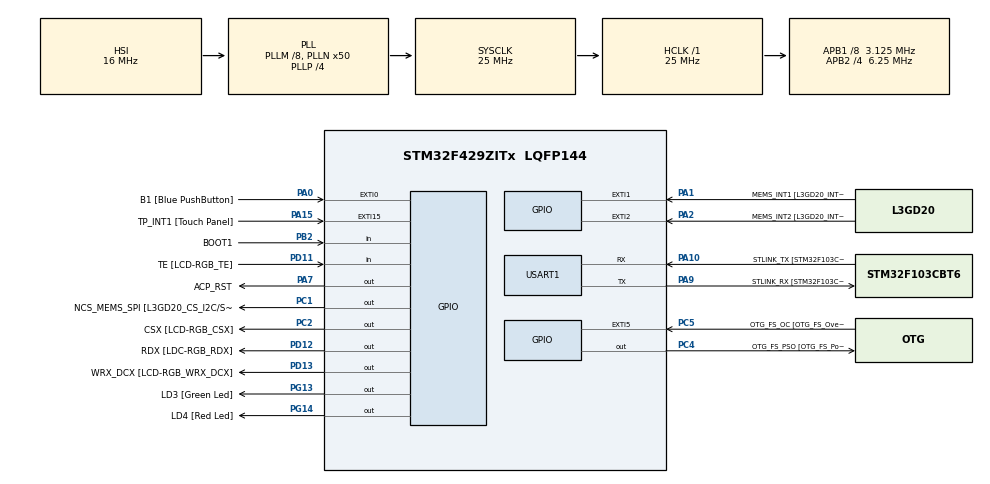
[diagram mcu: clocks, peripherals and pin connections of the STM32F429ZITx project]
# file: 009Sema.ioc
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Mcu.Family=STM32F4
Mcu.Name=STM32F429ZITx
Mcu.Package=LQFP144
NVIC.PriorityGroup=NVIC_PRIORITYGROUP_4
NVIC.TIM6_DAC_IRQn=true\:0\:0\:false\:false\:true\:false\:true
NVIC.TimeBase=TIM6_DAC_IRQn
NVIC.TimeBaseIP=TIM6
NVIC.USART1_IRQn=true\:6\:0\:true\:false\:true\:true\:true
PA0/WKUP.GPIO_Label=B1 [Blue PushButton]
PA0/WKUP.GPIO_ModeDefaultEXTI=GPIO_MODE_EVT_RISING
PA0/WKUP.GPIO_PuPd=GPIO_NOPULL
PA0/WKUP.Signal=GPXTI0
PA1.GPIO_Label=MEMS_INT1 [L3GD20_INT1]
PA1.GPIO_ModeDefaultEXTI=GPIO_MODE_EVT_RISING
PA1.GPIO_PuPd=GPIO_NOPULL
PA1.Signal=GPXTI1
PA10.GPIO_Label=STLINK_TX [STM32F103CBT6_PA2]
PA10.Mode=Asynchronous
PA10.Signal=USART1_RX
PA11.GPIO_Label=R4
PA11.GPIO_Mode=GPIO_MODE_AF_PP
PA11.GPIO_PuPd=GPIO_NOPULL
PA11.GPIO_Speed=GPIO_SPEED_FREQ_LOW
PA11.Signal=LTDC_R4
PA12.GPIO_Label=R5
PA12.GPIO_Mode=GPIO_MODE_AF_PP
PA12.GPIO_PuPd=GPIO_NOPULL
PA12.GPIO_Speed=GPIO_SPEED_FREQ_LOW
PA12.Signal=LTDC_R5
PA13.GPIO_Label=SWDIO
PA13.Signal=SYS_JTMS-SWDIO
PA14.GPIO_Label=SWCLK
PA14.Signal=SYS_JTCK-SWCLK
PA15.GPIO_Label=TP_INT1 [Touch Panel]
PA15.GPIO_ModeDefaultEXTI=GPIO_MODE_EVT_RISING
PA15.GPIO_PuPd=GPIO_NOPULL
PA15.Signal=GPXTI15
PA2.GPIO_Label=MEMS_INT2 [L3GD20_INT2]
PA2.GPIO_ModeDefaultEXTI=GPIO_MODE_EVT_RISING
PA2.GPIO_PuPd=GPIO_NOPULL
PA2.Signal=GPXTI2
PA3.GPIO_Label=B5
PA3.GPIO_Mode=GPIO_MODE_AF_PP
PA3.GPIO_PuPd=GPIO_NOPULL
PA3.GPIO_Speed=GPIO_SPEED_FREQ_LOW
PA3.Signal=LTDC_B5
PA4.GPIO_Label=VSYNC
PA4.GPIO_Mode=GPIO_MODE_AF_PP
PA4.GPIO_PuPd=GPIO_NOPULL
PA4.GPIO_Speed=GPIO_SPEED_FREQ_LOW
PA4.Signal=LTDC_VSYNC
PA6.GPIO_Label=G2
PA6.GPIO_Mode=GPIO_MODE_AF_PP
PA6.GPIO_PuPd=GPIO_NOPULL
PA6.GPIO_Speed=GPIO_SPEED_FREQ_LOW
PA6.Signal=LTDC_G2
PA7.GPIO_Label=ACP_RST
PA7.GPIO_Mode=GPIO_MODE_OUTPUT_PP
PA7.GPIO_PuPd=GPIO_NOPULL
PA7.GPIO_Speed=GPIO_SPEED_FREQ_LOW
PA7.Signal=GPIO_Output
PA8.GPIO_Label=I2C3_SCL [ACP/RF_SCL]
PA8.GPIO_Mode=GPIO_MODE_AF_OD
PA8.GPIO_PuPd=GPIO_NOPULL
PA8.GPIO_Speed=GPIO_SPEED_FREQ_LOW
PA8.Signal=I2C3_SCL
PA9.GPIO_Label=STLINK_RX [STM32F103CBT6_PA3]
PA9.Mode=Asynchronous
PA9.Signal=USART1_TX
PB0.GPIO_Label=R3
PB0.GPIO_Mode=GPIO_MODE_AF_PP
PB0.GPIO_PuPd=GPIO_NOPULL
PB0.GPIO_Speed=GPIO_SPEED_FREQ_LOW
PB0.Signal=LTDC_R3
PB1.GPIO_Label=R6
PB1.GPIO_Mode=GPIO_MODE_AF_PP
PB1.GPIO_PuPd=GPIO_NOPULL
PB1.GPIO_Speed=GPIO_SPEED_FREQ_LOW
PB1.Signal=LTDC_R6
PB10.GPIO_Label=G4
PB10.GPIO_Mode=GPIO_MODE_AF_PP
PB10.GPIO_PuPd=GPIO_NOPULL
PB10.GPIO_Speed=GPIO_SPEED_FREQ_LOW
PB10.Signal=LTDC_G4
PB11.GPIO_Label=G5
PB11.GPIO_Mode=GPIO_MODE_AF_PP
PB11.GPIO_PuPd=GPIO_NOPULL
PB11.GPIO_Speed=GPIO_SPEED_FREQ_LOW
PB11.Signal=LTDC_G5
PB12.GPIO_Label=OTG_HS_ID
PB12.GPIO_Mode=GPIO_MODE_AF_PP
PB12.GPIO_PuPd=GPIO_NOPULL
PB12.GPIO_Speed=GPIO_SPEED_FREQ_LOW
PB12.Signal=USB_OTG_HS_ID
PB13.GPIO_Label=VBUS_HS
PB13.GPIO_Mode=GPIO_MODE_INPUT
PB13.GPIO_PuPd=GPIO_NOPULL
PB13.Signal=USB_OTG_HS_VBUS
PB14.GPIO_Label=OTG_HS_DM
PB14.GPIO_Mode=GPIO_MODE_AF_PP
PB14.GPIO_PuPd=GPIO_NOPULL
PB14.GPIO_Speed=GPIO_SPEED_FREQ_LOW
PB14.Signal=USB_OTG_HS_DM
PB15.GPIO_Label=OTG_HS_DP
PB15.GPIO_Mode=GPIO_MODE_AF_PP
PB15.GPIO_PuPd=GPIO_NOPULL
PB15.GPIO_Speed=GPIO_SPEED_FREQ_LOW
PB15.Signal=USB_OTG_HS_DP
PB2/BOOT1.GPIO_Label=BOOT1
PB2/BOOT1.GPIO_Mode=GPIO_MODE_INPUT
PB2/BOOT1.GPIO_PuPd=GPIO_NOPULL
PB2/BOOT1.Signal=GPIO_Input
PB5.GPIO_Label=SDCKE1
PB5.GPIO_Mode=GPIO_MODE_AF_PP
PB5.GPIO_PuPd=GPIO_NOPULL
PB5.GPIO_Speed=GPIO_SPEED_FREQ_VERY_HIGH
PB5.Signal=FMC_SDCKE1
PB6.GPIO_Label=SDNE1 [SDRAM_CS]
PB6.GPIO_Mode=GPIO_MODE_AF_PP
PB6.GPIO_PuPd=GPIO_NOPULL
PB6.GPIO_Speed=GPIO_SPEED_FREQ_VERY_HIGH
PB6.Signal=FMC_SDNE1
PB8.GPIO_Label=B6
PB8.GPIO_Mode=GPIO_MODE_AF_PP
PB8.GPIO_PuPd=GPIO_NOPULL
PB8.GPIO_Speed=GPIO_SPEED_FREQ_LOW
PB8.Signal=LTDC_B6
PB9.GPIO_Label=B7
PB9.GPIO_Mode=GPIO_MODE_AF_PP
PB9.GPIO_PuPd=GPIO_NOPULL
PB9.GPIO_Speed=GPIO_SPEED_FREQ_LOW
PB9.Signal=LTDC_B7
PC0.GPIO_Label=SDNWE
PC0.GPIO_Mode=GPIO_MODE_AF_PP
PC0.GPIO_PuPd=GPIO_NOPULL
PC0.GPIO_Speed=GPIO_SPEED_FREQ_VERY_HIGH
PC0.Signal=FMC_SDNWE
PC1.GPIO_Label=NCS_MEMS_SPI [L3GD20_CS_I2C/SPI]
PC1.GPIO_Mode=GPIO_MODE_OUTPUT_PP
PC1.GPIO_PuPd=GPIO_NOPULL
PC1.GPIO_Speed=GPIO_SPEED_FREQ_LOW
PC1.Signal=GPIO_Output
PC10.GPIO_Label=R2
PC10.GPIO_Mode=GPIO_MODE_AF_PP
PC10.GPIO_PuPd=GPIO_NOPULL
PC10.GPIO_Speed=GPIO_SPEED_FREQ_LOW
PC10.Signal=LTDC_R2
PC14/OSC32_IN.GPIO_Label=PC14-OSC32_IN
PC14/OSC32_IN.Signal=RCC_OSC32_IN
PC15/OSC32_OUT.GPIO_Label=PC15-OSC32_OUT
PC15/OSC32_OUT.Signal=RCC_OSC32_OUT
PC2.GPIO_Label=CSX [LCD-RGB_CSX]
PC2.GPIO_Mode=GPIO_MODE_OUTPUT_PP
PC2.GPIO_PuPd=GPIO_NOPULL
PC2.GPIO_Speed=GPIO_SPEED_FREQ_LOW
PC2.Signal=GPIO_Output
PC4.GPIO_Label=OTG_FS_PSO [OTG_FS_PowerSwitchOn]
PC4.GPIO_Mode=GPIO_MODE_OUTPUT_PP
PC4.GPIO_PuPd=GPIO_NOPULL
PC4.GPIO_Speed=GPIO_SPEED_FREQ_LOW
PC4.Signal=GPIO_Output
PC5.GPIO_Label=OTG_FS_OC [OTG_FS_OverCurrent]
PC5.GPIO_ModeDefaultEXTI=GPIO_MODE_EVT_RISING
PC5.Signal=GPXTI5
PC6.GPIO_Label=HSYNC
PC6.GPIO_Mode=GPIO_MODE_AF_PP
PC6.GPIO_PuPd=GPIO_NOPULL
PC6.GPIO_Speed=GPIO_SPEED_FREQ_LOW
PC6.Signal=LTDC_HSYNC
PC7.GPIO_Label=G6
PC7.GPIO_Mode=GPIO_MODE_AF_PP
PC7.GPIO_PuPd=GPIO_NOPULL
PC7.GPIO_Speed=GPIO_SPEED_FREQ_LOW
PC7.Signal=LTDC_G6
PC9.GPIO_Label=I2C3_SDA [ACP/RF_SDA]
PC9.GPIO_Mode=GPIO_MODE_AF_OD
PC9.GPIO_PuPd=GPIO_NOPULL
PC9.GPIO_Speed=GPIO_SPEED_FREQ_LOW
PC9.Signal=I2C3_SDA
PD0.GPIO_Label=D2
PD0.GPIO_Mode=GPIO_MODE_AF_PP
PD0.GPIO_PuPd=GPIO_NOPULL
PD0.GPIO_Speed=GPIO_SPEED_FREQ_VERY_HIGH
PD0.Signal=FMC_D2_DA2
PD1.GPIO_Label=D3
PD1.GPIO_Mode=GPIO_MODE_AF_PP
PD1.GPIO_PuPd=GPIO_NOPULL
PD1.GPIO_Speed=GPIO_SPEED_FREQ_VERY_HIGH
PD1.Signal=FMC_D3_DA3
PD10.GPIO_Label=D15
PD10.GPIO_Mode=GPIO_MODE_AF_PP
PD10.GPIO_PuPd=GPIO_NOPULL
PD10.GPIO_Speed=GPIO_SPEED_FREQ_VERY_HIGH
PD10.Signal=FMC_D15_DA15
PD11.GPIO_Label=TE [LCD-RGB_TE]
PD11.GPIO_Mode=GPIO_MODE_INPUT
PD11.GPIO_PuPd=GPIO_NOPULL
PD11.Signal=GPIO_Input
PD12.GPIO_Label=RDX [LDC-RGB_RDX]
PD12.GPIO_Mode=GPIO_MODE_OUTPUT_PP
PD12.GPIO_PuPd=GPIO_NOPULL
PD12.GPIO_Speed=GPIO_SPEED_FREQ_LOW
PD12.Signal=GPIO_Output
PD13.GPIO_Label=WRX_DCX [LCD-RGB_WRX_DCX]
PD13.GPIO_Mode=GPIO_MODE_OUTPUT_PP
PD13.GPIO_PuPd=GPIO_NOPULL
PD13.GPIO_Speed=GPIO_SPEED_FREQ_LOW
PD13.Signal=GPIO_Output
PD14.GPIO_Label=D0
PD14.GPIO_Mode=GPIO_MODE_AF_PP
PD14.GPIO_PuPd=GPIO_NOPULL
PD14.GPIO_Speed=GPIO_SPEED_FREQ_VERY_HIGH
PD14.Signal=FMC_D0_DA0
PD15.GPIO_Label=D1
PD15.GPIO_Mode=GPIO_MODE_AF_PP
PD15.GPIO_PuPd=GPIO_NOPULL
PD15.GPIO_Speed=GPIO_SPEED_FREQ_VERY_HIGH
PD15.Signal=FMC_D1_DA1
PD3.GPIO_Label=G7
PD3.GPIO_Mode=GPIO_MODE_AF_PP
PD3.GPIO_PuPd=GPIO_NOPULL
PD3.GPIO_Speed=GPIO_SPEED_FREQ_LOW
PD3.Signal=LTDC_G7
PD6.GPIO_Label=B2
PD6.GPIO_Mode=GPIO_MODE_AF_PP
PD6.GPIO_PuPd=GPIO_NOPULL
PD6.GPIO_Speed=GPIO_SPEED_FREQ_LOW
PD6.Signal=LTDC_B2
PD8.GPIO_Label=D13
PD8.GPIO_Mode=GPIO_MODE_AF_PP
PD8.GPIO_PuPd=GPIO_NOPULL
PD8.GPIO_Speed=GPIO_SPEED_FREQ_VERY_HIGH
PD8.Signal=FMC_D13_DA13
PD9.GPIO_Label=D14
PD9.GPIO_Mode=GPIO_MODE_AF_PP
PD9.GPIO_PuPd=GPIO_NOPULL
PD9.GPIO_Speed=GPIO_SPEED_FREQ_VERY_HIGH
PD9.Signal=FMC_D14_DA14
PE0.GPIO_Label=NBL0 [SDRAM_LDQM]
PE0.GPIO_Mode=GPIO_MODE_AF_PP
PE0.GPIO_PuPd=GPIO_NOPULL
PE0.GPIO_Speed=GPIO_SPEED_FREQ_VERY_HIGH
PE0.Signal=FMC_NBL0
PE1.GPIO_Label=NBL1 [SDRAM_UDQM]
PE1.GPIO_Mode=GPIO_MODE_AF_PP
PE1.GPIO_PuPd=GPIO_NOPULL
PE1.GPIO_Speed=GPIO_SPEED_FREQ_VERY_HIGH
PE1.Signal=FMC_NBL1
PE10.GPIO_Label=D7
PE10.GPIO_Mode=GPIO_MODE_AF_PP
PE10.GPIO_PuPd=GPIO_NOPULL
PE10.GPIO_Speed=GPIO_SPEED_FREQ_VERY_HIGH
PE10.Signal=FMC_D7_DA7
PE11.GPIO_Label=D8
PE11.GPIO_Mode=GPIO_MODE_AF_PP
PE11.GPIO_PuPd=GPIO_NOPULL
PE11.GPIO_Speed=GPIO_SPEED_FREQ_VERY_HIGH
PE11.Signal=FMC_D8_DA8
PE12.GPIO_Label=D9
PE12.GPIO_Mode=GPIO_MODE_AF_PP
PE12.GPIO_PuPd=GPIO_NOPULL
PE12.GPIO_Speed=GPIO_SPEED_FREQ_VERY_HIGH
PE12.Signal=FMC_D9_DA9
PE13.GPIO_Label=D10
PE13.GPIO_Mode=GPIO_MODE_AF_PP
PE13.GPIO_PuPd=GPIO_NOPULL
PE13.GPIO_Speed=GPIO_SPEED_FREQ_VERY_HIGH
PE13.Signal=FMC_D10_DA10
PE14.GPIO_Label=D11
PE14.GPIO_Mode=GPIO_MODE_AF_PP
PE14.GPIO_PuPd=GPIO_NOPULL
PE14.GPIO_Speed=GPIO_SPEED_FREQ_VERY_HIGH
PE14.Signal=FMC_D11_DA11
PE15.GPIO_Label=D12
PE15.GPIO_Mode=GPIO_MODE_AF_PP
PE15.GPIO_PuPd=GPIO_NOPULL
PE15.GPIO_Speed=GPIO_SPEED_FREQ_VERY_HIGH
PE15.Signal=FMC_D12_DA12
PE7.GPIO_Label=D4
PE7.GPIO_Mode=GPIO_MODE_AF_PP
PE7.GPIO_PuPd=GPIO_NOPULL
PE7.GPIO_Speed=GPIO_SPEED_FREQ_VERY_HIGH
PE7.Signal=FMC_D4_DA4
PE8.GPIO_Label=D5
PE8.GPIO_Mode=GPIO_MODE_AF_PP
PE8.GPIO_PuPd=GPIO_NOPULL
PE8.GPIO_Speed=GPIO_SPEED_FREQ_VERY_HIGH
PE8.Signal=FMC_D5_DA5
PE9.GPIO_Label=D6
PE9.GPIO_Mode=GPIO_MODE_AF_PP
PE9.GPIO_PuPd=GPIO_NOPULL
PE9.GPIO_Speed=GPIO_SPEED_FREQ_VERY_HIGH
PE9.Signal=FMC_D6_DA6
PF0.GPIO_Label=A0
PF0.GPIO_Mode=GPIO_MODE_AF_PP
PF0.GPIO_PuPd=GPIO_NOPULL
PF0.GPIO_Speed=GPIO_SPEED_FREQ_VERY_HIGH
PF0.Signal=FMC_A0
PF1.GPIO_Label=A1
PF1.GPIO_Mode=GPIO_MODE_AF_PP
PF1.GPIO_PuPd=GPIO_NOPULL
PF1.GPIO_Speed=GPIO_SPEED_FREQ_VERY_HIGH
PF1.Signal=FMC_A1
PF10.GPIO_Label=ENABLE [LCD-RGB_ENABLE]
PF10.GPIO_Mode=GPIO_MODE_AF_PP
PF10.GPIO_PuPd=GPIO_NOPULL
PF10.GPIO_Speed=GPIO_SPEED_FREQ_LOW
PF10.Signal=LTDC_DE
PF11.GPIO_Label=SDNRAS
PF11.GPIO_Mode=GPIO_MODE_AF_PP
PF11.GPIO_PuPd=GPIO_NOPULL
PF11.GPIO_Speed=GPIO_SPEED_FREQ_VERY_HIGH
PF11.Signal=FMC_SDNRAS
PF12.GPIO_Label=A6
PF12.GPIO_Mode=GPIO_MODE_AF_PP
PF12.GPIO_PuPd=GPIO_NOPULL
PF12.GPIO_Speed=GPIO_SPEED_FREQ_VERY_HIGH
PF12.Signal=FMC_A6
PF13.GPIO_Label=A7
PF13.GPIO_Mode=GPIO_MODE_AF_PP
PF13.GPIO_PuPd=GPIO_NOPULL
PF13.GPIO_Speed=GPIO_SPEED_FREQ_VERY_HIGH
PF13.Signal=FMC_A7
PF14.GPIO_Label=A8
PF14.GPIO_Mode=GPIO_MODE_AF_PP
PF14.GPIO_PuPd=GPIO_NOPULL
PF14.GPIO_Speed=GPIO_SPEED_FREQ_VERY_HIGH
PF14.Signal=FMC_A8
PF15.GPIO_Label=A9
PF15.GPIO_Mode=GPIO_MODE_AF_PP
PF15.GPIO_PuPd=GPIO_NOPULL
PF15.GPIO_Speed=GPIO_SPEED_FREQ_VERY_HIGH
PF15.Signal=FMC_A9
PF2.GPIO_Label=A2
PF2.GPIO_Mode=GPIO_MODE_AF_PP
PF2.GPIO_PuPd=GPIO_NOPULL
PF2.GPIO_Speed=GPIO_SPEED_FREQ_VERY_HIGH
PF2.Signal=FMC_A2
PF3.GPIO_Label=A3
PF3.GPIO_Mode=GPIO_MODE_AF_PP
PF3.GPIO_PuPd=GPIO_NOPULL
PF3.GPIO_Speed=GPIO_SPEED_FREQ_VERY_HIGH
PF3.Signal=FMC_A3
PF4.GPIO_Label=A4
PF4.GPIO_Mode=GPIO_MODE_AF_PP
PF4.GPIO_PuPd=GPIO_NOPULL
PF4.GPIO_Speed=GPIO_SPEED_FREQ_VERY_HIGH
PF4.Signal=FMC_A4
PF5.GPIO_Label=A5
PF5.GPIO_Mode=GPIO_MODE_AF_PP
PF5.GPIO_PuPd=GPIO_NOPULL
PF5.GPIO_Speed=GPIO_SPEED_FREQ_VERY_HIGH
PF5.Signal=FMC_A5
PF7.GPIO_Label=SPI5_SCK [L3GD20_SCL/SPC]
PF7.GPIO_Mode=GPIO_MODE_AF_PP
PF7.GPIO_PuPd=GPIO_NOPULL
PF7.GPIO_Speed=GPIO_SPEED_FREQ_LOW
PF7.Signal=SPI5_SCK
PF8.GPIO_Label=SPI5_MISO [L3GD20_SDO]
PF8.GPIO_Mode=GPIO_MODE_AF_PP
PF8.GPIO_PuPd=GPIO_NOPULL
PF8.GPIO_Speed=GPIO_SPEED_FREQ_LOW
PF8.Signal=SPI5_MISO
PF9.GPIO_Label=SPI5_MOSI [L3GD20_SDA/SDI/SDO]
PF9.GPIO_Mode=GPIO_MODE_AF_PP
PF9.GPIO_PuPd=GPIO_NOPULL
PF9.GPIO_Speed=GPIO_SPEED_FREQ_LOW
PF9.Signal=SPI5_MOSI
PG0.GPIO_Label=A10
PG0.GPIO_Mode=GPIO_MODE_AF_PP
PG0.GPIO_PuPd=GPIO_NOPULL
PG0.GPIO_Speed=GPIO_SPEED_FREQ_VERY_HIGH
PG0.Signal=FMC_A10
PG1.GPIO_Label=A11
PG1.GPIO_Mode=GPIO_MODE_AF_PP
PG1.GPIO_PuPd=GPIO_NOPULL
PG1.GPIO_Speed=GPIO_SPEED_FREQ_VERY_HIGH
PG1.Signal=FMC_A11
PG10.GPIO_Label=G3
PG10.GPIO_Mode=GPIO_MODE_AF_PP
PG10.GPIO_PuPd=GPIO_NOPULL
PG10.GPIO_Speed=GPIO_SPEED_FREQ_LOW
PG10.Signal=LTDC_G3
PG11.GPIO_Label=B3
PG11.GPIO_Mode=GPIO_MODE_AF_PP
PG11.GPIO_PuPd=GPIO_NOPULL
PG11.GPIO_Speed=GPIO_SPEED_FREQ_LOW
PG11.Signal=LTDC_B3
PG12.GPIO_Label=B4
PG12.GPIO_Mode=GPIO_MODE_AF_PP
PG12.GPIO_PuPd=GPIO_NOPULL
PG12.GPIO_Speed=GPIO_SPEED_FREQ_LOW
PG12.Signal=LTDC_B4
PG13.GPIO_Label=LD3 [Green Led]
PG13.GPIO_Mode=GPIO_MODE_OUTPUT_PP
PG13.GPIO_PuPd=GPIO_NOPULL
PG13.GPIO_Speed=GPIO_SPEED_FREQ_LOW
PG13.Signal=GPIO_Output
PG14.GPIO_Label=LD4 [Red Led]
PG14.GPIO_Mode=GPIO_MODE_OUTPUT_PP
PG14.GPIO_PuPd=GPIO_NOPULL
PG14.GPIO_Speed=GPIO_SPEED_FREQ_LOW
PG14.Signal=GPIO_Output
PG15.GPIO_Label=SDNCAS
PG15.GPIO_Mode=GPIO_MODE_AF_PP
PG15.GPIO_PuPd=GPIO_NOPULL
PG15.GPIO_Speed=GPIO_SPEED_FREQ_VERY_HIGH
PG15.Signal=FMC_SDNCAS
PG4.GPIO_Label=BA0
PG4.GPIO_Mode=GPIO_MODE_AF_PP
PG4.GPIO_PuPd=GPIO_NOPULL
PG4.GPIO_Speed=GPIO_SPEED_FREQ_VERY_HIGH
PG4.Signal=FMC_A14_BA0
PG5.GPIO_Label=BA1
PG5.GPIO_Mode=GPIO_MODE_AF_PP
PG5.GPIO_PuPd=GPIO_NOPULL
PG5.GPIO_Speed=GPIO_SPEED_FREQ_VERY_HIGH
PG5.Signal=FMC_A15_BA1
PG6.GPIO_Label=R7
PG6.GPIO_Mode=GPIO_MODE_AF_PP
PG6.GPIO_PuPd=GPIO_NOPULL
PG6.GPIO_Speed=GPIO_SPEED_FREQ_LOW
PG6.Signal=LTDC_R7
PG7.GPIO_Label=DOTCLK [LCT-RGB_DOTCLK]
PG7.GPIO_Mode=GPIO_MODE_AF_PP
PG7.GPIO_PuPd=GPIO_NOPULL
PG7.GPIO_Speed=GPIO_SPEED_FREQ_LOW
PG7.Signal=LTDC_CLK
PG8.GPIO_Label=SDCLK
PG8.GPIO_Mode=GPIO_MODE_AF_PP
PG8.GPIO_PuPd=GPIO_NOPULL
PG8.GPIO_Speed=GPIO_SPEED_FREQ_VERY_HIGH
PG8.Signal=FMC_SDCLK
PH0/OSC_IN.GPIO_Label=PH0-OSC_IN
PH0/OSC_IN.Signal=RCC_OSC_IN
PH1/OSC_OUT.GPIO_Label=PH1-OSC_OUT
PH1/OSC_OUT.Signal=RCC_OSC_OUT
ProjectManager.HeapSize=0x200
ProjectManager.StackSize=0x400
ProjectManager.TargetToolchain=STM32CubeIDE
RCC.48MHZClocksFreq_Value=14285714.285714285
RCC.AHBFreq_Value=25000000
RCC.APB1CLKDivider=RCC_HCLK_DIV8
RCC.APB1Freq_Value=3125000
RCC.APB1TimFreq_Value=6250000
RCC.APB2CLKDivider=RCC_HCLK_DIV4
RCC.APB2Freq_Value=6250000
RCC.APB2TimFreq_Value=12500000
RCC.CortexFreq_Value=25000000
RCC.HCLKFreq_Value=25000000
RCC.HSE_VALUE=8000000
RCC.HSI_VALUE=16000000
RCC.LSE_VALUE=32768
RCC.PLLM=8
RCC.PLLN=50
RCC.PLLP=RCC_PLLP_DIV4
RCC.PLLQ=7
RCC.SYSCLKFreq_VALUE=25000000
RCC.SYSCLKSource=RCC_SYSCLKSOURCE_PLLCLK
RCC.VCOOutputFreq_Value=100000000
SH.FMC_A0.0=FMC_A0
SH.FMC_A1.0=FMC_A1
SH.FMC_A10.0=FMC_A10
SH.FMC_A11.0=FMC_A11
SH.FMC_A14_BA0.0=FMC_BA0
SH.FMC_A15_BA1.0=FMC_BA1
SH.FMC_A2.0=FMC_A2
SH.FMC_A3.0=FMC_A3
SH.FMC_A4.0=FMC_A4
SH.FMC_A5.0=FMC_A5
SH.FMC_A6.0=FMC_A6
SH.FMC_A7.0=FMC_A7
SH.FMC_A8.0=FMC_A8
SH.FMC_A9.0=FMC_A9
SH.FMC_D0_DA0.0=FMC_D0
SH.FMC_D10_DA10.0=FMC_D10
SH.FMC_D11_DA11.0=FMC_D11
SH.FMC_D12_DA12.0=FMC_D12
SH.FMC_D13_DA13.0=FMC_D13
SH.FMC_D14_DA14.0=FMC_D14
SH.FMC_D15_DA15.0=FMC_D15
SH.FMC_D1_DA1.0=FMC_D1
SH.FMC_D2_DA2.0=FMC_D2
SH.FMC_D3_DA3.0=FMC_D3
SH.FMC_D4_DA4.0=FMC_D4
SH.FMC_D5_DA5.0=FMC_D5
SH.FMC_D6_DA6.0=FMC_D6
SH.FMC_D7_DA7.0=FMC_D7
SH.FMC_D8_DA8.0=FMC_D8
SH.FMC_D9_DA9.0=FMC_D9
SH.FMC_NBL0.0=FMC_NBL0
SH.FMC_NBL1.0=FMC_NBL1
SH.FMC_SDCLK.0=FMC_SDCLK
SH.FMC_SDNCAS.0=FMC_SDNCAS
SH.FMC_SDNRAS.0=FMC_SDNRAS
SH.FMC_SDNWE.0=FMC_SDNWE
USART1.VirtualMode=VM_ASYNC
VP_SYS_VS_tim6.Mode=TIM6
board=STM32F429I-DISC1

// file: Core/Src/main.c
/* USER CODE BEGIN Header */
/**
  ******************************************************************************
  * @file           : main.c
  * @brief          : Main program body
  ******************************************************************************
  * @attention
  *
  * <h2><center>&copy; Copyright (c) 2021 STMicroelectronics.
  * All rights reserved.</center></h2>
  *
  * This software component is licensed by ST under BSD 3-Clause license,
  * the "License"; You may not use this file except in compliance with the
  * License. You may obtain a copy of the License at:
  *                        opensource.org/licenses/BSD-3-Clause
  *
  ******************************************************************************
  */
/* USER CODE END Header */

#include "main.h"

/* USER CODE BEGIN Includes */
#define DWT_CTRL (*(volatile uint32_t*)0xE0001000)
/* USER CODE END Includes */

/* USER CODE BEGIN PD */
#define limit	5
/* USER CODE END PD */

UART_HandleTypeDef huart1;
/* USER CODE BEGIN PV */
// Settings
volatile int buf[limit];
volatile uint8_t tail = 0;
volatile uint8_t head = 0;
static const uint8_t numWrite = 3;
static const uint8_t prodTask = 5;
static const uint8_t consuTask = 2;

static SemaphoreHandle_t FilledSlotSem;
static SemaphoreHandle_t EmptySlotSem;
static SemaphoreHandle_t mutex;
/* USER CODE END PV */

void SystemClock_Config(void);
static void MX_GPIO_Init(void);
static void MX_USART1_UART_Init(void);
/* USER CODE BEGIN PFP */

void consumer(void *parameters);
void producer(void *parameters);
/* USER CODE END PFP */

int main(void)
{
  /* USER CODE BEGIN 1 */
	BaseType_t status;
	static int tbuf[limit];
	char task_name[12];

/* USER CODE END 1 */

  /* MCU Configuration--------------------------------------------------------*/

  /* Reset of all peripherals, Initializes the Flash interface and the Systick. */
  HAL_Init();

  /* Configure the system clock */
  SystemClock_Config();

  /* Initialize all configured peripherals */
  MX_GPIO_Init();
  MX_USART1_UART_Init();
  /* USER CODE BEGIN 2 */

  FilledSlotSem = xSemaphoreCreateCounting(5,0);
  EmptySlotSem = xSemaphoreCreateCounting(5,5);
  mutex = xSemaphoreCreateMutex();

  if(mutex != NULL && FilledSlotSem != NULL && EmptySlotSem != NULL )
  {
      for(int i = 0; i < prodTask;i++)
      {
    	  tbuf[i]= i;
    	  sprintf(task_name,"Producer %i", i);
    	  status =xTaskCreate(producer,task_name, 600,(void*)(uint32_t)&tbuf[i], 1, NULL);
    	  configASSERT(status == pdPASS);
      }

      for(int i = 0; i < consuTask;i++)
      {
    	  sprintf(task_name, "Consumer %i", i);
       	  status =xTaskCreate(consumer,task_name,600,NULL, 2, NULL);
       	  configASSERT(status == pdPASS);
      }

      vTaskStartScheduler();
  }
   /* USER CODE END 2 */
   /* Infinite loop */
  while (1)
  {

  }
}

void SystemClock_Config(void)
{
  RCC_OscInitTypeDef RCC_OscInitStruct = {0};
  RCC_ClkInitTypeDef RCC_ClkInitStruct = {0};

  /** Configure the main internal regulator output voltage
  */
  __HAL_RCC_PWR_CLK_ENABLE();
  __HAL_PWR_VOLTAGESCALING_CONFIG(PWR_REGULATOR_VOLTAGE_SCALE3);
  /** Initializes the CPU, AHB and APB busses clocks
  */
  RCC_OscInitStruct.OscillatorType = RCC_OSCILLATORTYPE_HSI;
  RCC_OscInitStruct.HSIState = RCC_HSI_ON;
  RCC_OscInitStruct.HSICalibrationValue = RCC_HSICALIBRATION_DEFAULT;
  RCC_OscInitStruct.PLL.PLLState = RCC_PLL_ON;
  RCC_OscInitStruct.PLL.PLLSource = RCC_PLLSOURCE_HSI;
  RCC_OscInitStruct.PLL.PLLM = 8;
  RCC_OscInitStruct.PLL.PLLN = 50;
  RCC_OscInitStruct.PLL.PLLP = RCC_PLLP_DIV4;
  RCC_OscInitStruct.PLL.PLLQ = 7;
  if (HAL_RCC_OscConfig(&RCC_OscInitStruct) != HAL_OK)
  {
    Error_Handler();
  }
  /** Initializes the CPU, AHB and APB busses clocks
  */
  RCC_ClkInitStruct.ClockType = RCC_CLOCKTYPE_HCLK|RCC_CLOCKTYPE_SYSCLK
                              |RCC_CLOCKTYPE_PCLK1|RCC_CLOCKTYPE_PCLK2;
  RCC_ClkInitStruct.SYSCLKSource = RCC_SYSCLKSOURCE_PLLCLK;
  RCC_ClkInitStruct.AHBCLKDivider = RCC_SYSCLK_DIV1;
  RCC_ClkInitStruct.APB1CLKDivider = RCC_HCLK_DIV8;
  RCC_ClkInitStruct.APB2CLKDivider = RCC_HCLK_DIV4;

  if (HAL_RCC_ClockConfig(&RCC_ClkInitStruct, FLASH_LATENCY_0) != HAL_OK)
  {
    Error_Handler();
  }
}

static void MX_USART1_UART_Init(void)
{

  huart1.Instance = USART1;
  huart1.Init.BaudRate = 115200;
  huart1.Init.WordLength = UART_WORDLENGTH_8B;
  huart1.Init.StopBits = UART_STOPBITS_1;
  huart1.Init.Parity = UART_PARITY_NONE;
  huart1.Init.Mode = UART_MODE_TX_RX;
  huart1.Init.HwFlowCtl = UART_HWCONTROL_NONE;
  huart1.Init.OverSampling = UART_OVERSAMPLING_16;
  if (HAL_UART_Init(&huart1) != HAL_OK)
  {
    Error_Handler();
  }

}

static void MX_GPIO_Init(void)
{
  GPIO_InitTypeDef GPIO_InitStruct = {0};

  /* GPIO Ports Clock Enable */
  __HAL_RCC_GPIOC_CLK_ENABLE();
  __HAL_RCC_GPIOF_CLK_ENABLE();
  __HAL_RCC_GPIOH_CLK_ENABLE();
  __HAL_RCC_GPIOA_CLK_ENABLE();
  __HAL_RCC_GPIOB_CLK_ENABLE();
  __HAL_RCC_GPIOG_CLK_ENABLE();
  __HAL_RCC_GPIOE_CLK_ENABLE();
  __HAL_RCC_GPIOD_CLK_ENABLE();

  /*Configure GPIO pin Output Level */
  HAL_GPIO_WritePin(GPIOC, NCS_MEMS_SPI_Pin|CSX_Pin|OTG_FS_PSO_Pin, GPIO_PIN_RESET);

  /*Configure GPIO pin Output Level */
  HAL_GPIO_WritePin(ACP_RST_GPIO_Port, ACP_RST_Pin, GPIO_PIN_RESET);

  /*Configure GPIO pin Output Level */
  HAL_GPIO_WritePin(GPIOD, RDX_Pin|WRX_DCX_Pin, GPIO_PIN_RESET);

  /*Configure GPIO pin Output Level */
  HAL_GPIO_WritePin(GPIOG, LD3_Pin|LD4_Pin, GPIO_PIN_RESET);

  /*Configure GPIO pins : A0_Pin A1_Pin A2_Pin A3_Pin
                           A4_Pin A5_Pin SDNRAS_Pin A6_Pin
                           A7_Pin A8_Pin A9_Pin */
  GPIO_InitStruct.Pin = A0_Pin|A1_Pin|A2_Pin|A3_Pin
                          |A4_Pin|A5_Pin|SDNRAS_Pin|A6_Pin
                          |A7_Pin|A8_Pin|A9_Pin;
  GPIO_InitStruct.Mode = GPIO_MODE_AF_PP;
  GPIO_InitStruct.Pull = GPIO_NOPULL;
  GPIO_InitStruct.Speed = GPIO_SPEED_FREQ_VERY_HIGH;
  GPIO_InitStruct.Alternate = GPIO_AF12_FMC;
  HAL_GPIO_Init(GPIOF, &GPIO_InitStruct);

  /*Configure GPIO pins : SPI5_SCK_Pin SPI5_MISO_Pin SPI5_MOSI_Pin */
  GPIO_InitStruct.Pin = SPI5_SCK_Pin|SPI5_MISO_Pin|SPI5_MOSI_Pin;
  GPIO_InitStruct.Mode = GPIO_MODE_AF_PP;
  GPIO_InitStruct.Pull = GPIO_NOPULL;
  GPIO_InitStruct.Speed = GPIO_SPEED_FREQ_LOW;
  GPIO_InitStruct.Alternate = GPIO_AF5_SPI5;
  HAL_GPIO_Init(GPIOF, &GPIO_InitStruct);

  /*Configure GPIO pin : ENABLE_Pin */
  GPIO_InitStruct.Pin = ENABLE_Pin;
  GPIO_InitStruct.Mode = GPIO_MODE_AF_PP;
  GPIO_InitStruct.Pull = GPIO_NOPULL;
  GPIO_InitStruct.Speed = GPIO_SPEED_FREQ_LOW;
  GPIO_InitStruct.Alternate = GPIO_AF14_LTDC;
  HAL_GPIO_Init(ENABLE_GPIO_Port, &GPIO_InitStruct);

  /*Configure GPIO pin : SDNWE_Pin */
  GPIO_InitStruct.Pin = SDNWE_Pin;
  GPIO_InitStruct.Mode = GPIO_MODE_AF_PP;
  GPIO_InitStruct.Pull = GPIO_NOPULL;
  GPIO_InitStruct.Speed = GPIO_SPEED_FREQ_VERY_HIGH;
  GPIO_InitStruct.Alternate = GPIO_AF12_FMC;
  HAL_GPIO_Init(SDNWE_GPIO_Port, &GPIO_InitStruct);

  /*Configure GPIO pins : NCS_MEMS_SPI_Pin CSX_Pin OTG_FS_PSO_Pin */
  GPIO_InitStruct.Pin = NCS_MEMS_SPI_Pin|CSX_Pin|OTG_FS_PSO_Pin;
  GPIO_InitStruct.Mode = GPIO_MODE_OUTPUT_PP;
  GPIO_InitStruct.Pull = GPIO_NOPULL;
  GPIO_InitStruct.Speed = GPIO_SPEED_FREQ_LOW;
  HAL_GPIO_Init(GPIOC, &GPIO_InitStruct);

  /*Configure GPIO pins : B1_Pin MEMS_INT1_Pin MEMS_INT2_Pin TP_INT1_Pin */
  GPIO_InitStruct.Pin = B1_Pin|MEMS_INT1_Pin|MEMS_INT2_Pin|TP_INT1_Pin;
  GPIO_InitStruct.Mode = GPIO_MODE_EVT_RISING;
  GPIO_InitStruct.Pull = GPIO_NOPULL;
  HAL_GPIO_Init(GPIOA, &GPIO_InitStruct);

  /*Configure GPIO pins : B5_Pin VSYNC_Pin G2_Pin R4_Pin
                           R5_Pin */
  GPIO_InitStruct.Pin = B5_Pin|VSYNC_Pin|G2_Pin|R4_Pin
                          |R5_Pin;
  GPIO_InitStruct.Mode = GPIO_MODE_AF_PP;
  GPIO_InitStruct.Pull = GPIO_NOPULL;
  GPIO_InitStruct.Speed = GPIO_SPEED_FREQ_LOW;
  GPIO_InitStruct.Alternate = GPIO_AF14_LTDC;
  HAL_GPIO_Init(GPIOA, &GPIO_InitStruct);

  /*Configure GPIO pin : ACP_RST_Pin */
  GPIO_InitStruct.Pin = ACP_RST_Pin;
  GPIO_InitStruct.Mode = GPIO_MODE_OUTPUT_PP;
  GPIO_InitStruct.Pull = GPIO_NOPULL;
  GPIO_InitStruct.Speed = GPIO_SPEED_FREQ_LOW;
  HAL_GPIO_Init(ACP_RST_GPIO_Port, &GPIO_InitStruct);

  /*Configure GPIO pin : OTG_FS_OC_Pin */
  GPIO_InitStruct.Pin = OTG_FS_OC_Pin;
  GPIO_InitStruct.Mode = GPIO_MODE_EVT_RISING;
  GPIO_InitStruct.Pull = GPIO_NOPULL;
  HAL_GPIO_Init(OTG_FS_OC_GPIO_Port, &GPIO_InitStruct);

  /*Configure GPIO pins : R3_Pin R6_Pin */
  GPIO_InitStruct.Pin = R3_Pin|R6_Pin;
  GPIO_InitStruct.Mode = GPIO_MODE_AF_PP;
  GPIO_InitStruct.Pull = GPIO_NOPULL;
  GPIO_InitStruct.Speed = GPIO_SPEED_FREQ_LOW;
  GPIO_InitStruct.Alternate = GPIO_AF9_LTDC;
  HAL_GPIO_Init(GPIOB, &GPIO_InitStruct);

  /*Configure GPIO pin : BOOT1_Pin */
  GPIO_InitStruct.Pin = BOOT1_Pin;
  GPIO_InitStruct.Mode = GPIO_MODE_INPUT;
  GPIO_InitStruct.Pull = GPIO_NOPULL;
  HAL_GPIO_Init(BOOT1_GPIO_Port, &GPIO_InitStruct);

  /*Configure GPIO pins : A10_Pin A11_Pin BA0_Pin BA1_Pin
                           SDCLK_Pin SDNCAS_Pin */
  GPIO_InitStruct.Pin = A10_Pin|A11_Pin|BA0_Pin|BA1_Pin
                          |SDCLK_Pin|SDNCAS_Pin;
  GPIO_InitStruct.Mode = GPIO_MODE_AF_PP;
  GPIO_InitStruct.Pull = GPIO_NOPULL;
  GPIO_InitStruct.Speed = GPIO_SPEED_FREQ_VERY_HIGH;
  GPIO_InitStruct.Alternate = GPIO_AF12_FMC;
  HAL_GPIO_Init(GPIOG, &GPIO_InitStruct);

  /*Configure GPIO pins : D4_Pin D5_Pin D6_Pin D7_Pin
                           D8_Pin D9_Pin D10_Pin D11_Pin
                           D12_Pin NBL0_Pin NBL1_Pin */
  GPIO_InitStruct.Pin = D4_Pin|D5_Pin|D6_Pin|D7_Pin
                          |D8_Pin|D9_Pin|D10_Pin|D11_Pin
                          |D12_Pin|NBL0_Pin|NBL1_Pin;
  GPIO_InitStruct.Mode = GPIO_MODE_AF_PP;
  GPIO_InitStruct.Pull = GPIO_NOPULL;
  GPIO_InitStruct.Speed = GPIO_SPEED_FREQ_VERY_HIGH;
  GPIO_InitStruct.Alternate = GPIO_AF12_FMC;
  HAL_GPIO_Init(GPIOE, &GPIO_InitStruct);

  /*Configure GPIO pins : G4_Pin G5_Pin B6_Pin B7_Pin */
  GPIO_InitStruct.Pin = G4_Pin|G5_Pin|B6_Pin|B7_Pin;
  GPIO_InitStruct.Mode = GPIO_MODE_AF_PP;
  GPIO_InitStruct.Pull = GPIO_NOPULL;
  GPIO_InitStruct.Speed = GPIO_SPEED_FREQ_LOW;
  GPIO_InitStruct.Alternate = GPIO_AF14_LTDC;
  HAL_GPIO_Init(GPIOB, &GPIO_InitStruct);

  /*Configure GPIO pins : OTG_HS_ID_Pin OTG_HS_DM_Pin OTG_HS_DP_Pin */
  GPIO_InitStruct.Pin = OTG_HS_ID_Pin|OTG_HS_DM_Pin|OTG_HS_DP_Pin;
  GPIO_InitStruct.Mode = GPIO_MODE_AF_PP;
  GPIO_InitStruct.Pull = GPIO_NOPULL;
  GPIO_InitStruct.Speed = GPIO_SPEED_FREQ_LOW;
  GPIO_InitStruct.Alternate = GPIO_AF12_OTG_HS_FS;
  HAL_GPIO_Init(GPIOB, &GPIO_InitStruct);

  /*Configure GPIO pin : VBUS_HS_Pin */
  GPIO_InitStruct.Pin = VBUS_HS_Pin;
  GPIO_InitStruct.Mode = GPIO_MODE_INPUT;
  GPIO_InitStruct.Pull = GPIO_NOPULL;
  HAL_GPIO_Init(VBUS_HS_GPIO_Port, &GPIO_InitStruct);

  /*Configure GPIO pins : D13_Pin D14_Pin D15_Pin D0_Pin
                           D1_Pin D2_Pin D3_Pin */
  GPIO_InitStruct.Pin = D13_Pin|D14_Pin|D15_Pin|D0_Pin
                          |D1_Pin|D2_Pin|D3_Pin;
  GPIO_InitStruct.Mode = GPIO_MODE_AF_PP;
  GPIO_InitStruct.Pull = GPIO_NOPULL;
  GPIO_InitStruct.Speed = GPIO_SPEED_FREQ_VERY_HIGH;
  GPIO_InitStruct.Alternate = GPIO_AF12_FMC;
  HAL_GPIO_Init(GPIOD, &GPIO_InitStruct);

  /*Configure GPIO pin : TE_Pin */
  GPIO_InitStruct.Pin = TE_Pin;
  GPIO_InitStruct.Mode = GPIO_MODE_INPUT;
  GPIO_InitStruct.Pull = GPIO_NOPULL;
  HAL_GPIO_Init(TE_GPIO_Port, &GPIO_InitStruct);

  /*Configure GPIO pins : RDX_Pin WRX_DCX_Pin */
  GPIO_InitStruct.Pin = RDX_Pin|WRX_DCX_Pin;
  GPIO_InitStruct.Mode = GPIO_MODE_OUTPUT_PP;
  GPIO_InitStruct.Pull = GPIO_NOPULL;
  GPIO_InitStruct.Speed = GPIO_SPEED_FREQ_LOW;
  HAL_GPIO_Init(GPIOD, &GPIO_InitStruct);

  /*Configure GPIO pins : R7_Pin DOTCLK_Pin B3_Pin */
  GPIO_InitStruct.Pin = R7_Pin|DOTCLK_Pin|B3_Pin;
  GPIO_InitStruct.Mode = GPIO_MODE_AF_PP;
  GPIO_InitStruct.Pull = GPIO_NOPULL;
  GPIO_InitStruct.Speed = GPIO_SPEED_FREQ_LOW;
  GPIO_InitStruct.Alternate = GPIO_AF14_LTDC;
  HAL_GPIO_Init(GPIOG, &GPIO_InitStruct);

  /*Configure GPIO pins : HSYNC_Pin G6_Pin R2_Pin */
  GPIO_InitStruct.Pin = HSYNC_Pin|G6_Pin|R2_Pin;
  GPIO_InitStruct.Mode = GPIO_MODE_AF_PP;
  GPIO_InitStruct.Pull = GPIO_NOPULL;
  GPIO_InitStruct.Speed = GPIO_SPEED_FREQ_LOW;
  GPIO_InitStruct.Alternate = GPIO_AF14_LTDC;
  HAL_GPIO_Init(GPIOC, &GPIO_InitStruct);

  /*Configure GPIO pin : I2C3_SDA_Pin */
  GPIO_InitStruct.Pin = I2C3_SDA_Pin;
  GPIO_InitStruct.Mode = GPIO_MODE_AF_OD;
  GPIO_InitStruct.Pull = GPIO_PULLUP;
  GPIO_InitStruct.Speed = GPIO_SPEED_FREQ_LOW;
  GPIO_InitStruct.Alternate = GPIO_AF4_I2C3;
  HAL_GPIO_Init(I2C3_SDA_GPIO_Port, &GPIO_InitStruct);

  /*Configure GPIO pin : I2C3_SCL_Pin */
  GPIO_InitStruct.Pin = I2C3_SCL_Pin;
  GPIO_InitStruct.Mode = GPIO_MODE_AF_OD;
  GPIO_InitStruct.Pull = GPIO_PULLUP;
  GPIO_InitStruct.Speed = GPIO_SPEED_FREQ_LOW;
  GPIO_InitStruct.Alternate = GPIO_AF4_I2C3;
  HAL_GPIO_Init(I2C3_SCL_GPIO_Port, &GPIO_InitStruct);

  /*Configure GPIO pins : G7_Pin B2_Pin */
  GPIO_InitStruct.Pin = G7_Pin|B2_Pin;
  GPIO_InitStruct.Mode = GPIO_MODE_AF_PP;
  GPIO_InitStruct.Pull = GPIO_NOPULL;
  GPIO_InitStruct.Speed = GPIO_SPEED_FREQ_LOW;
  GPIO_InitStruct.Alternate = GPIO_AF14_LTDC;
  HAL_GPIO_Init(GPIOD, &GPIO_InitStruct);

  /*Configure GPIO pins : G3_Pin B4_Pin */
  GPIO_InitStruct.Pin = G3_Pin|B4_Pin;
  GPIO_InitStruct.Mode = GPIO_MODE_AF_PP;
  GPIO_InitStruct.Pull = GPIO_NOPULL;
  GPIO_InitStruct.Speed = GPIO_SPEED_FREQ_LOW;
  GPIO_InitStruct.Alternate = GPIO_AF9_LTDC;
  HAL_GPIO_Init(GPIOG, &GPIO_InitStruct);

  /*Configure GPIO pins : LD3_Pin LD4_Pin */
  GPIO_InitStruct.Pin = LD3_Pin|LD4_Pin;
  GPIO_InitStruct.Mode = GPIO_MODE_OUTPUT_PP;
  GPIO_InitStruct.Pull = GPIO_NOPULL;
  GPIO_InitStruct.Speed = GPIO_SPEED_FREQ_LOW;
  HAL_GPIO_Init(GPIOG, &GPIO_InitStruct);

  /*Configure GPIO pins : SDCKE1_Pin SDNE1_Pin */
  GPIO_InitStruct.Pin = SDCKE1_Pin|SDNE1_Pin;
  GPIO_InitStruct.Mode = GPIO_MODE_AF_PP;
  GPIO_InitStruct.Pull = GPIO_NOPULL;
  GPIO_InitStruct.Speed = GPIO_SPEED_FREQ_VERY_HIGH;
  GPIO_InitStruct.Alternate = GPIO_AF12_FMC;
  HAL_GPIO_Init(GPIOB, &GPIO_InitStruct);

}

/* USER CODE BEGIN 4 */
void producer(void *parameters)
{
	char tbuf[28];
	int num = *(int *)parameters;
	for (int i = 0; i<numWrite; i++)
	{
		xSemaphoreTake(EmptySlotSem,portMAX_DELAY);
		//Lock access to the buffer

		xSemaphoreTake(mutex,portMAX_DELAY);
		sprintf(tbuf,"Printing val of %i\n",num);
		HAL_UART_Transmit(&huart1,(uint8_t*)tbuf, strlen(tbuf),HAL_MAX_DELAY);
		buf[head] = num;
		head = (head +1)%limit;
		vTaskDelay(pdMS_TO_TICKS(500));
		xSemaphoreGive(mutex);//Release lock

		//Signal to consumer task is ready to run
		xSemaphoreGive(FilledSlotSem);
	}
	vTaskDelete(NULL);
}

void consumer(void *parameters)
{
	int val;
	char tbuf[8];
	for (;;)
	{
		xSemaphoreTake(FilledSlotSem,portMAX_DELAY);
		val = buf[tail];
		tail = (tail+1)%limit;

		xSemaphoreTake(mutex,portMAX_DELAY);
		sprintf(tbuf,"%i\n",val);
		HAL_UART_Transmit(&huart1,(uint8_t*)tbuf,strlen(tbuf),HAL_MAX_DELAY);
		vTaskDelay(pdMS_TO_TICKS(500));
		xSemaphoreGive(mutex);
		//Signal to producer task is ready to run
		xSemaphoreGive(EmptySlotSem);
	}
}

/* USER CODE END 4 */

void HAL_TIM_PeriodElapsedCallback(TIM_HandleTypeDef *htim)
{
  if (htim->Instance == TIM6) {
    HAL_IncTick();
  }
}

void Error_Handler(void)
{
}

/************************ (C) COPYRIGHT STMicroelectronics *****END OF FILE****/
